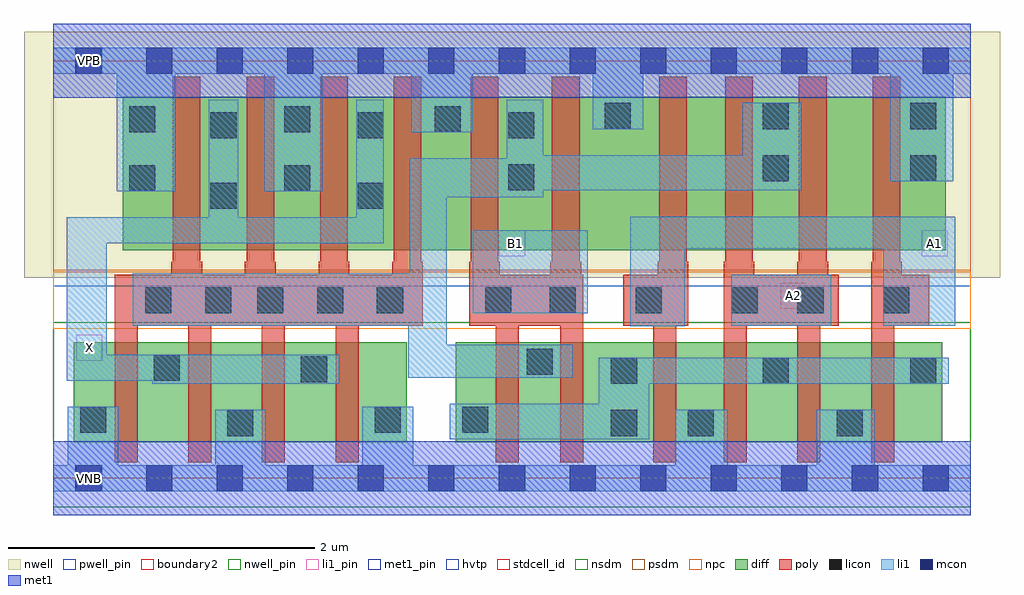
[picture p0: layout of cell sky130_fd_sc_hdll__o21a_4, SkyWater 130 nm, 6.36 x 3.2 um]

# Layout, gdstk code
import gdstk
lib = gdstk.Library(unit=1e-6, precision=1e-09)
def R(c, l, rs):  # rectangles x0, y0, x1, y1
    for r in rs: c.add(gdstk.rectangle(r[:2], r[2:], *l))
def A(c, l, x, y, w, h, nx, ny, dx, dy):  # array of equal rectangles
    R(c, l, [(x+i*dx, y+j*dy, x+i*dx+w, y+j*dy+h) for i in range(nx) for j in range(ny)])
def P(c, l, *ps):  # polygons
    for p in ps: c.add(gdstk.Polygon(p, *l))
nwell_pin = (64, 16)
nwell = (64, 20)
diff = (65, 20)
poly = (66, 20)
licon = (66, 44)
li1_pin = (67, 16)
li1 = (67, 20)
mcon = (67, 44)
met1_pin = (68, 16)
met1 = (68, 20)
hvtp = (78, 44)
stdcell_id = (81, 4)
nsdm = (93, 44)
psdm = (94, 20)
npc = (95, 20)
pwell_pin = (122, 16)
boundary2 = (236, 0)

sky130_fd_sc_hdll__o21a_ = lib.new_cell('sky130_fd_sc_hdll__o21a_4')
R(sky130_fd_sc_hdll__o21a_, nwell_pin, [(0.15,2.635,0.32,2.805)])
R(sky130_fd_sc_hdll__o21a_, nwell, [(-0.19,1.305,6.17,2.91)])
R(sky130_fd_sc_hdll__o21a_, diff, [(0.135,0.235,2.305,0.885), (2.625,0.235,5.795,0.885), (0.455,1.485,5.815,2.485)])
P(sky130_fd_sc_hdll__o21a_, poly, [(2.41,1.41),(2.4,1.41),(2.4,2.615),(2.22,2.615),(2.22,1.41),(2.21,1.41),(2.21,1.325),(1.93,1.325),(1.93,1.41),(1.92,1.41),(1.92,2.615),(1.74,2.615),(1.74,1.41),(1.73,1.41),(1.73,1.325),(1.45,1.325),(1.45,1.41),(1.44,1.41),(1.44,2.615),(1.26,2.615),(1.26,1.41),(1.25,1.41),(1.25,1.325),(0.97,1.325),(0.97,1.41),(0.96,1.41),(0.96,2.615),(0.78,2.615),(0.78,1.41),(0.77,1.41),(0.77,1.325),(0.4,1.325),(0.4,0.105),(0.55,0.105),(0.55,0.995),(0.88,0.995),(0.88,0.105),(1.03,0.105),(1.03,0.995),(1.36,0.995),(1.36,0.105),(1.51,0.105),(1.51,0.995),(1.84,0.995),(1.84,0.105),(1.99,0.105),(1.99,0.995),(2.41,0.995)],
  [(3.455,1.325),(3.44,1.325),(3.44,1.41),(3.43,1.41),(3.43,2.615),(3.25,2.615),(3.25,1.41),(3.24,1.41),(3.24,1.325),(2.91,1.325),(2.91,1.41),(2.9,1.41),(2.9,2.615),(2.72,2.615),(2.72,1.41),(2.71,1.41),(2.71,0.995),(2.885,0.995),(2.885,0.105),(3.035,0.105),(3.035,0.995),(3.305,0.995),(3.305,0.105),(3.455,0.105)],
  [(4.14,1.41),(4.13,1.41),(4.13,2.615),(3.95,2.615),(3.95,1.41),(3.94,1.41),(3.94,1.325),(3.715,1.325),(3.715,0.995),(3.91,0.995),(3.91,0.105),(4.06,0.105),(4.06,0.995),(4.14,0.995)],
  [(5.12,1.325),(5.05,1.325),(5.05,1.41),(5.04,1.41),(5.04,2.615),(4.86,2.615),(4.86,1.41),(4.85,1.41),(4.85,1.325),(4.57,1.325),(4.57,1.41),(4.56,1.41),(4.56,2.615),(4.38,2.615),(4.38,1.41),(4.37,1.41),(4.37,0.105),(4.52,0.105),(4.52,0.995),(4.85,0.995),(4.85,0.105),(5,0.105),(5,0.995),(5.12,0.995)],
  [(5.71,1.325),(5.53,1.325),(5.53,1.41),(5.52,1.41),(5.52,2.615),(5.34,2.615),(5.34,1.41),(5.33,1.41),(5.33,0.105),(5.48,0.105),(5.48,0.995),(5.71,0.995)])
A(sky130_fd_sc_hdll__o21a_, licon, 1.33, 1.075, 0.17, 0.17, 3, 1, 0.39, 0)
R(sky130_fd_sc_hdll__o21a_, licon, [(1.135,0.275,1.305,0.445), (3.635,0.275,3.805,0.445), (4.135,0.275,4.305,0.445), (5.105,0.275,5.275,0.445), (0.175,0.295,0.345,0.465), (2.095,0.295,2.265,0.465), (2.665,0.295,2.835,0.465), (3.635,0.615,3.805,0.785), (4.625,0.615,4.795,0.785), (5.585,0.615,5.755,0.785), (1.615,0.625,1.785,0.795), (0.655,0.635,0.825,0.805), (3.085,0.675,3.255,0.845), (0.6,1.075,0.77,1.245), (0.99,1.075,1.16,1.245), (2.815,1.075,2.985,1.245), (3.235,1.075,3.405,1.245), (3.795,1.075,3.965,1.245), (4.42,1.075,4.59,1.245), (4.85,1.075,5.02,1.245), (5.41,1.075,5.58,1.245), (1.025,1.755,1.195,1.925), (1.985,1.755,2.155,1.925), (0.495,1.87,0.665,2.04), (1.505,1.87,1.675,2.04), (2.965,1.875,3.135,2.045), (4.625,1.935,4.795,2.105), (5.585,1.935,5.755,2.105), (1.025,2.215,1.195,2.385), (1.985,2.215,2.155,2.385), (2.965,2.215,3.135,2.385), (0.495,2.255,0.665,2.425), (1.505,2.255,1.675,2.425), (2.485,2.255,2.655,2.425), (3.595,2.275,3.765,2.445), (4.625,2.275,4.795,2.445), (5.585,2.275,5.755,2.445)])
R(sky130_fd_sc_hdll__o21a_, li1_pin, [(0.15,0.765,0.32,0.935), (4.74,1.105,4.91,1.275), (2.905,1.445,3.075,1.615), (5.66,1.445,5.83,1.615)])
R(sky130_fd_sc_hdll__o21a_, li1, [(4.42,0.995,5.07,1.325), (2.735,1.075,3.485,1.615)])
P(sky130_fd_sc_hdll__o21a_, li1, [(5.98,0.085),(5.355,0.085),(5.355,0.445),(4.975,0.445),(4.975,0.085),(4.395,0.085),(4.395,0.445),(4.055,0.445),(4.055,0.085),(2.345,0.085),(2.345,0.465),(2.015,0.465),(2.015,0.085),(1.385,0.085),(1.385,0.445),(1.055,0.445),(1.055,0.085),(0.425,0.085),(0.425,0.465),(0.095,0.465),(0.095,0.085),(0,0.085),(0,-0.085),(5.98,-0.085)],
  [(5.98,2.805),(0,2.805),(0,2.635),(0.415,2.635),(0.415,1.87),(0.795,1.87),(0.795,2.635),(1.375,2.635),(1.375,1.87),(1.755,1.87),(1.755,2.635),(2.335,2.635),(2.335,2.255),(2.735,2.255),(2.735,2.635),(3.515,2.635),(3.515,2.275),(3.845,2.275),(3.845,2.635),(5.455,2.635),(5.455,1.935),(5.865,1.935),(5.865,2.635),(5.98,2.635)],
  [(4.875,2.445),(4.495,2.445),(4.495,2.105),(3.195,2.105),(3.195,2.465),(2.955,2.465),(2.955,2.085),(2.325,2.085),(2.325,1.335),(0.52,1.335),(0.52,0.995),(2.315,0.995),(2.315,0.655),(3.385,0.655),(3.385,0.87),(2.565,0.87),(2.565,1.83),(3.195,1.83),(3.195,1.875),(4.875,1.875)],
  [(5.88,1.705),(3.76,1.705),(3.76,0.99),(4.115,0.99),(4.115,1.495),(5.41,1.495),(5.41,0.995),(5.88,0.995)],
  [(5.835,0.785),(3.555,0.785),(3.555,0.485),(2.585,0.485),(2.585,0.255),(3.885,0.255),(3.885,0.615),(5.835,0.615)],
  [(2.155,2.465),(1.975,2.465),(1.975,1.7),(1.205,1.7),(1.205,2.465),(1.015,2.465),(1.015,1.7),(0.09,1.7),(0.09,0.635),(0.645,0.635),(0.645,0.615),(1.865,0.615),(1.865,0.805),(0.35,0.805),(0.35,1.53),(2.155,1.53)])
A(sky130_fd_sc_hdll__o21a_, mcon, 0.145, -0.085, 0.17, 0.17, 13, 2, 0.46, 2.72)
R(sky130_fd_sc_hdll__o21a_, met1_pin, [(0.15,-0.085,0.32,0.085), (0.15,2.635,0.32,2.805)])
R(sky130_fd_sc_hdll__o21a_, met1, [(0,-0.24,5.98,0.24), (0,2.48,5.98,2.96)])
R(sky130_fd_sc_hdll__o21a_, hvtp, [(0,1.25,5.98,2.72)])
R(sky130_fd_sc_hdll__o21a_, stdcell_id, [(0,0,5.98,2.72)])
R(sky130_fd_sc_hdll__o21a_, nsdm, [(0,-0.19,5.98,1.015)])
R(sky130_fd_sc_hdll__o21a_, psdm, [(0,1.355,5.98,2.91)])
R(sky130_fd_sc_hdll__o21a_, npc, [(0,0.975,5.98,1.345)])
R(sky130_fd_sc_hdll__o21a_, pwell_pin, [(0.15,-0.085,0.32,0.085)])
R(sky130_fd_sc_hdll__o21a_, boundary2, [(0,0,5.98,2.72)])
sky130_fd_sc_hdll__o21a_.add(gdstk.Label('A1', (5.74,1.53), layer=67, texttype=5))
sky130_fd_sc_hdll__o21a_.add(gdstk.Label('A2', (4.825,1.19), layer=67, texttype=5))
sky130_fd_sc_hdll__o21a_.add(gdstk.Label('B1', (3.015,1.53), layer=67, texttype=5))
sky130_fd_sc_hdll__o21a_.add(gdstk.Label('X', (0.235,0.85), layer=67, texttype=5))
sky130_fd_sc_hdll__o21a_.add(gdstk.Label('VNB', (0.235,0), layer=64, texttype=59))
sky130_fd_sc_hdll__o21a_.add(gdstk.Label('VPB', (0.235,2.72), layer=64, texttype=5))
sky130_fd_sc_hdll__o21a_.add(gdstk.Label('VPWR', (0.235,2.72), layer=68, texttype=5))
sky130_fd_sc_hdll__o21a_.add(gdstk.Label('VGND', (0.23,0), layer=68, texttype=5))
sky130_fd_sc_hdll__o21a_.add(gdstk.Label('o21a_4', (0,0), layer=83, texttype=44))

lib.write_gds('sky130_fd_sc_hdll__o21a_4.gds')
